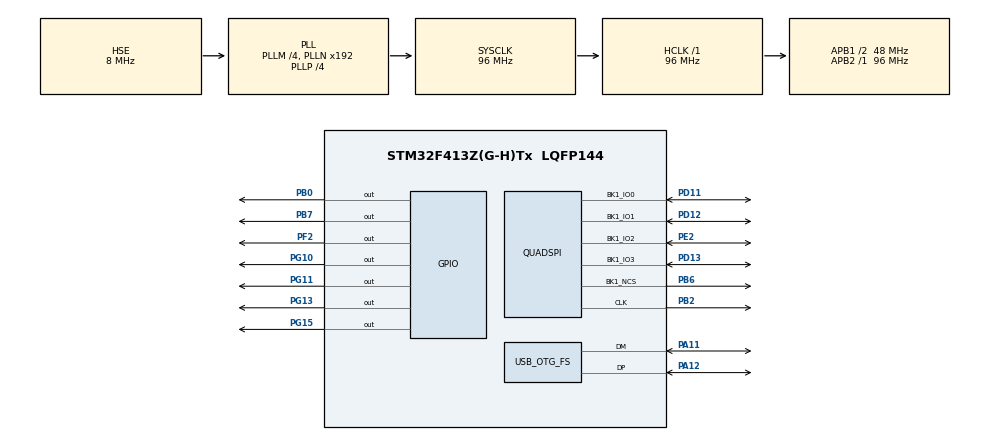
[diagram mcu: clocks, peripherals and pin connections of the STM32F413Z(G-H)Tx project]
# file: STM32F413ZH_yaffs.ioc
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Dma.QUADSPI.0.Direction=DMA_PERIPH_TO_MEMORY
Dma.QUADSPI.0.FIFOMode=DMA_FIFOMODE_ENABLE
Dma.QUADSPI.0.FIFOThreshold=DMA_FIFO_THRESHOLD_1QUARTERFULL
Dma.QUADSPI.0.Instance=DMA2_Stream7
Dma.QUADSPI.0.MemBurst=DMA_MBURST_SINGLE
Dma.QUADSPI.0.MemDataAlignment=DMA_MDATAALIGN_BYTE
Dma.QUADSPI.0.MemInc=DMA_MINC_DISABLE
Dma.QUADSPI.0.Mode=DMA_NORMAL
Dma.QUADSPI.0.PeriphBurst=DMA_PBURST_SINGLE
Dma.QUADSPI.0.PeriphDataAlignment=DMA_PDATAALIGN_BYTE
Dma.QUADSPI.0.PeriphInc=DMA_PINC_DISABLE
Dma.QUADSPI.0.Priority=DMA_PRIORITY_LOW
Dma.Request0=QUADSPI
Mcu.Family=STM32F4
Mcu.Name=STM32F413Z(G-H)Tx
Mcu.Package=LQFP144
NVIC.DMA2_Stream7_IRQn=true\:0\:0\:false\:false\:true\:false\:true
NVIC.OTG_FS_IRQn=true\:0\:0\:false\:false\:true\:false\:true
NVIC.PriorityGroup=NVIC_PRIORITYGROUP_4
NVIC.QUADSPI_IRQn=true\:0\:0\:false\:false\:true\:true\:true
PA11.Mode=Device_Only
PA11.Signal=USB_OTG_FS_DM
PA12.Mode=Device_Only
PA12.Signal=USB_OTG_FS_DP
PA13.Mode=Serial_Wire
PA13.Signal=SYS_JTMS-SWDIO
PA14.Mode=Serial_Wire
PA14.Signal=SYS_JTCK-SWCLK
PB0.Signal=GPIO_Output
PB2.Mode=Single Bank 1
PB2.Signal=QUADSPI_CLK
PB6.Mode=Single Bank 1
PB6.Signal=QUADSPI_BK1_NCS
PB7.Signal=GPIO_Output
PD11.Mode=Single Bank 1
PD11.Signal=QUADSPI_BK1_IO0
PD12.Mode=Single Bank 1
PD12.Signal=QUADSPI_BK1_IO1
PD13.Mode=Single Bank 1
PD13.Signal=QUADSPI_BK1_IO3
PE2.Mode=Single Bank 1
PE2.Signal=QUADSPI_BK1_IO2
PF2.Signal=GPIO_Output
PG10.Signal=GPIO_Output
PG11.Signal=GPIO_Output
PG13.Signal=GPIO_Output
PG15.Signal=GPIO_Output
PH0\ -\ OSC_IN.Mode=HSE-External-Clock-Source
PH0\ -\ OSC_IN.Signal=RCC_OSC_IN
PH1\ -\ OSC_OUT.Mode=HSE-External-Clock-Source
PH1\ -\ OSC_OUT.Signal=RCC_OSC_OUT
ProjectManager.HeapSize=0x200
ProjectManager.StackSize=0x400
ProjectManager.TargetToolchain=STM32CubeIDE
QUADSPI.ClockPrescaler=3
QUADSPI.FlashSize=31
RCC.AHBFreq_Value=96000000
RCC.APB1CLKDivider=RCC_HCLK_DIV2
RCC.APB1Freq_Value=48000000
RCC.APB1TimFreq_Value=96000000
RCC.APB2Freq_Value=96000000
RCC.APB2TimFreq_Value=96000000
RCC.CortexFreq_Value=96000000
RCC.HCLKFreq_Value=96000000
RCC.HSE_VALUE=8000000
RCC.HSICalibrationValue=8
RCC.PLLM=4
RCC.PLLP=RCC_PLLP_DIV4
RCC.PLLQ=8
RCC.PLLSourceVirtual=RCC_PLLSOURCE_HSE
RCC.SYSCLKFreq_VALUE=96000000
RCC.SYSCLKSource=RCC_SYSCLKSOURCE_PLLCLK
RCC.USBFreq_Value=48000000
RCC.VCOOutputFreq_Value=384000000
USB_DEVICE.CLASS_NAME_FS=CDC
USB_DEVICE.MANUFACTURER_STRING=Charles Manning
USB_DEVICE.PRODUCT_STRING_CDC_FS=Yaffs Tester
USB_DEVICE.VirtualMode=Cdc
USB_DEVICE.VirtualModeFS=Cdc_FS
USB_OTG_FS.VirtualMode=Device_Only
VP_USB_DEVICE_VS_USB_DEVICE_CDC_FS.Mode=CDC_FS
board=custom

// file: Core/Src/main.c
/* USER CODE BEGIN Header */
/**
  ******************************************************************************
  * @file           : main.c
  * @brief          : Main program body
  ******************************************************************************
  * @attention
  *
  * <h2><center>&copy; Copyright (c) 2020 STMicroelectronics.
  * All rights reserved.</center></h2>
  *
  * This software component is licensed by ST under BSD 3-Clause license,
  * the "License"; You may not use this file except in compliance with the
  * License. You may obtain a copy of the License at:
  *                        opensource.org/licenses/BSD-3-Clause
  *
  ******************************************************************************
  */
/* USER CODE END Header */

#include "main.h"
#include "dma.h"
#include "quadspi.h"
#include "usb_device.h"
#include "gpio.h"

/* USER CODE BEGIN Includes */
#include <stdio.h>
#include "cdc_print_sink.h"
#include "my_monitor.h"
#include "spi_nand.h"
#include "yaffsfs.h"
void yaffs_sizes(void);
void yaffs_test(void);

/* USER CODE END Includes */

void SystemClock_Config(void);

/* USER CODE BEGIN 0 */
unsigned n_ticks;
unsigned n_loops;

#if 0
static volatile uint32_t tx_complete;
void HAL_QSPI_TxCpltCallback(QSPI_HandleTypeDef *hqspi)
{
	tx_complete = 1;
}

static 	uint8_t tx_buffer[4096];

void send_qspi_burp(void)
{
	QSPI_CommandTypeDef cmd;

	int ret;

	(void) ret;

	cmd.Address = 0;
	cmd.AddressMode = QSPI_ADDRESS_1_LINE;
	cmd.AddressSize = QSPI_ADDRESS_24_BITS;

	cmd.AlternateByteMode = QSPI_ALTERNATE_BYTES_NONE;
	cmd.AlternateBytes = 0;
	cmd.AlternateBytesSize = 0;
	cmd.DataMode = QSPI_DATA_4_LINES;
	cmd.DdrHoldHalfCycle = 0;
	cmd.DdrMode = 0;
	cmd.DummyCycles = 0;
	cmd.Instruction = 0xff;
	cmd.InstructionMode = QSPI_INSTRUCTION_1_LINE;

	cmd.NbData = sizeof(tx_buffer);
	cmd.SIOOMode = 0;

	tx_complete = 0;
	ret = HAL_QSPI_Command(&hqspi, &cmd, 10);
	ret = HAL_QSPI_Transmit_DMA(&hqspi, tx_buffer);

	while(!tx_complete) {
		/* Spin. */
	}

}
#endif

/* USER CODE END 0 */

int main(void)
{

  /* MCU Configuration--------------------------------------------------------*/

  /* Reset of all peripherals, Initializes the Flash interface and the Systick. */
  HAL_Init();

  /* Configure the system clock */
  SystemClock_Config();

  /* Initialize all configured peripherals */
  MX_GPIO_Init();
  MX_DMA_Init();
  MX_QUADSPI_Init();
  MX_USB_DEVICE_Init();
  /* USER CODE BEGIN 2 */

  /* Wait for USB CDC to get going properly. */
  HAL_Delay(2000);

  printf("\n\nStarting " __DATE__ " " __TIME__"\n");

  // Early test code
  //spi_nand_test();
  //spi_nand_format();
  //yaffs_sizes();
  //yaffs_test();

  /* Run a simple command monitor that takes commands over the
   * USB CDC port and executes them.
   */
  my_monitor();

  /* Execution does not get here... */

  /* USER CODE END 2 */

  /* Infinite loop */
  while (1)
  {

  }
}

void SystemClock_Config(void)
{
  RCC_OscInitTypeDef RCC_OscInitStruct = {0};
  RCC_ClkInitTypeDef RCC_ClkInitStruct = {0};
  RCC_PeriphCLKInitTypeDef PeriphClkInitStruct = {0};

  /** Configure the main internal regulator output voltage
  */
  __HAL_RCC_PWR_CLK_ENABLE();
  __HAL_PWR_VOLTAGESCALING_CONFIG(PWR_REGULATOR_VOLTAGE_SCALE1);
  /** Initializes the CPU, AHB and APB busses clocks
  */
  RCC_OscInitStruct.OscillatorType = RCC_OSCILLATORTYPE_HSE;
  RCC_OscInitStruct.HSEState = RCC_HSE_BYPASS;
  RCC_OscInitStruct.PLL.PLLState = RCC_PLL_ON;
  RCC_OscInitStruct.PLL.PLLSource = RCC_PLLSOURCE_HSE;
  RCC_OscInitStruct.PLL.PLLM = 4;
  RCC_OscInitStruct.PLL.PLLN = 192;
  RCC_OscInitStruct.PLL.PLLP = RCC_PLLP_DIV4;
  RCC_OscInitStruct.PLL.PLLQ = 8;
  RCC_OscInitStruct.PLL.PLLR = 2;
  if (HAL_RCC_OscConfig(&RCC_OscInitStruct) != HAL_OK)
  {
    Error_Handler();
  }
  /** Initializes the CPU, AHB and APB busses clocks
  */
  RCC_ClkInitStruct.ClockType = RCC_CLOCKTYPE_HCLK|RCC_CLOCKTYPE_SYSCLK
                              |RCC_CLOCKTYPE_PCLK1|RCC_CLOCKTYPE_PCLK2;
  RCC_ClkInitStruct.SYSCLKSource = RCC_SYSCLKSOURCE_PLLCLK;
  RCC_ClkInitStruct.AHBCLKDivider = RCC_SYSCLK_DIV1;
  RCC_ClkInitStruct.APB1CLKDivider = RCC_HCLK_DIV2;
  RCC_ClkInitStruct.APB2CLKDivider = RCC_HCLK_DIV1;

  if (HAL_RCC_ClockConfig(&RCC_ClkInitStruct, FLASH_LATENCY_3) != HAL_OK)
  {
    Error_Handler();
  }
  PeriphClkInitStruct.PeriphClockSelection = RCC_PERIPHCLK_CLK48;
  PeriphClkInitStruct.Clk48ClockSelection = RCC_CLK48CLKSOURCE_PLLQ;
  if (HAL_RCCEx_PeriphCLKConfig(&PeriphClkInitStruct) != HAL_OK)
  {
    Error_Handler();
  }
}

/* USER CODE BEGIN 4 */
void systick_hook(void)
{
	n_ticks++;

	cdc_print_sink_tick();

	gpio_led0((n_ticks >>8) & 1);
	gpio_led1((n_ticks >>9) & 1);
}
/* USER CODE END 4 */

void Error_Handler(void)
{
}

/************************ (C) COPYRIGHT STMicroelectronics *****END OF FILE****/
